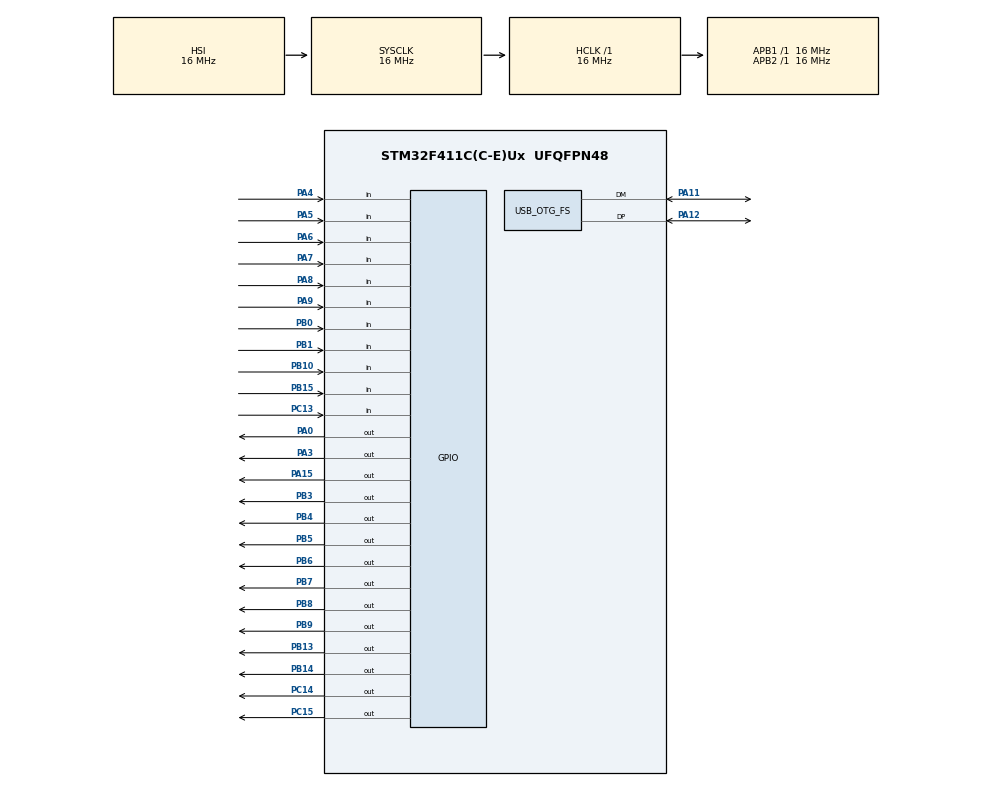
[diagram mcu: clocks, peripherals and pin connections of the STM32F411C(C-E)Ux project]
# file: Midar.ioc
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Mcu.Family=STM32F4
Mcu.Name=STM32F411C(C-E)Ux
Mcu.Package=UFQFPN48
NVIC.OTG_FS_IRQn=true\:0\:0\:false\:false\:true\:false\:true\:true
NVIC.PriorityGroup=NVIC_PRIORITYGROUP_4
PA0-WKUP.PinState=GPIO_PIN_SET
PA0-WKUP.Signal=GPIO_Output
PA11.Mode=Device_Only
PA11.Signal=USB_OTG_FS_DM
PA12.Mode=Device_Only
PA12.Signal=USB_OTG_FS_DP
PA15.PinState=GPIO_PIN_SET
PA15.Signal=GPIO_Output
PA3.PinState=GPIO_PIN_SET
PA3.Signal=GPIO_Output
PA4.GPIO_PuPd=GPIO_PULLUP
PA4.Signal=GPIO_Input
PA5.GPIO_PuPd=GPIO_PULLUP
PA5.Signal=GPIO_Input
PA6.GPIO_PuPd=GPIO_PULLUP
PA6.Signal=GPIO_Input
PA7.GPIO_PuPd=GPIO_PULLUP
PA7.Signal=GPIO_Input
PA8.GPIO_PuPd=GPIO_PULLUP
PA8.Signal=GPIO_Input
PA9.GPIO_PuPd=GPIO_PULLUP
PA9.Signal=GPIO_Input
PB0.GPIO_PuPd=GPIO_PULLUP
PB0.Signal=GPIO_Input
PB1.GPIO_PuPd=GPIO_PULLUP
PB1.Signal=GPIO_Input
PB10.GPIO_PuPd=GPIO_PULLUP
PB10.Signal=GPIO_Input
PB13.PinState=GPIO_PIN_SET
PB13.Signal=GPIO_Output
PB14.PinState=GPIO_PIN_SET
PB14.Signal=GPIO_Output
PB15.GPIO_PuPd=GPIO_PULLUP
PB15.Signal=GPIO_Input
PB3.PinState=GPIO_PIN_SET
PB3.Signal=GPIO_Output
PB4.PinState=GPIO_PIN_SET
PB4.Signal=GPIO_Output
PB5.PinState=GPIO_PIN_SET
PB5.Signal=GPIO_Output
PB6.PinState=GPIO_PIN_SET
PB6.Signal=GPIO_Output
PB7.PinState=GPIO_PIN_SET
PB7.Signal=GPIO_Output
PB8.PinState=GPIO_PIN_SET
PB8.Signal=GPIO_Output
PB9.PinState=GPIO_PIN_SET
PB9.Signal=GPIO_Output
PC13-ANTI_TAMP.GPIO_PuPd=GPIO_PULLUP
PC13-ANTI_TAMP.Signal=GPIO_Input
PC14-OSC32_IN.GPIO_PuPd=GPIO_NOPULL
PC14-OSC32_IN.PinState=GPIO_PIN_SET
PC14-OSC32_IN.Signal=GPIO_Output
PC15-OSC32_OUT.GPIO_PuPd=GPIO_NOPULL
PC15-OSC32_OUT.PinState=GPIO_PIN_SET
PC15-OSC32_OUT.Signal=GPIO_Output
PH0\ -\ OSC_IN.Mode=HSE-External-Oscillator
PH0\ -\ OSC_IN.Signal=RCC_OSC_IN
PH1\ -\ OSC_OUT.Mode=HSE-External-Oscillator
PH1\ -\ OSC_OUT.Signal=RCC_OSC_OUT
ProjectManager.HeapSize=0x200
ProjectManager.StackSize=0x400
ProjectManager.TargetToolchain=STM32CubeIDE
RCC.48MHZClocksFreq_Value=48000000
RCC.AHBFreq_Value=16000000
RCC.APB1Freq_Value=16000000
RCC.APB2Freq_Value=16000000
RCC.CortexFreq_Value=16000000
RCC.HSE_VALUE=25000000
RCC.HSI_VALUE=16000000
RCC.LSE_VALUE=32768
RCC.PLLM=15
RCC.PLLN=144
RCC.PLLQ=5
RCC.SYSCLKFreq_VALUE=16000000
RCC.VCOOutputFreq_Value=240000000
TIM11.Period=65535
TIM11.Prescaler=1600
USB_DEVICE.CLASS_NAME_FS=HID
USB_DEVICE.MANUFACTURER_STRING=Loony
USB_DEVICE.PID_HID_FS=13160
USB_DEVICE.PRODUCT_STRING_HID_FS=Midar
USB_DEVICE.VirtualMode=Hid
USB_DEVICE.VirtualModeFS=Hid_FS
USB_OTG_FS.VirtualMode=Device_Only
VP_TIM11_VS_ClockSourceINT.Mode=Enable_Timer
VP_USB_DEVICE_VS_USB_DEVICE_HID_FS.Mode=HID_FS
board=custom

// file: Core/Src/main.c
/* USER CODE BEGIN Header */
/**
  ******************************************************************************
  * @file           : main.c
  * @brief          : Main program body
  ******************************************************************************
  * @attention
  *
  * Copyright (c) 2023 STMicroelectronics.
  * All rights reserved.
  *
  * This software is licensed under terms that can be found in the LICENSE file
  * in the root directory of this software component.
  * If no LICENSE file comes with this software, it is provided AS-IS.
  *
  ******************************************************************************
  */
/* USER CODE END Header */
#include "main.h"
#include "usb_device.h"

/* USER CODE BEGIN Includes */
#include <stdbool.h>

#include "io_matrix.h"
#include "midi_device.h"
/* USER CODE END Includes */

/* USER CODE BEGIN PTD */

typedef struct
{
	bool tgl[2];
} Key_State;

typedef struct
{
	bool pressed;
	bool pendingRelease;
	uint32_t firstTouchTick; // 10kHz ticks
	uint8_t velocity;
} Note_State;

/* USER CODE END PTD */

/* USER CODE BEGIN PD */

#define DEFAULT_ROOT_NOTE 36

// Intervals measured in 10 kHz ticks
#define MIN_VELOCITY_INTERVAL 30
#define MAX_VELOCITY_INTERVAL 1200
#define VELOCITY_INTERVAL_RANGE (MAX_VELOCITY_INTERVAL-MIN_VELOCITY_INTERVAL)

/* USER CODE END PD */

TIM_HandleTypeDef htim11;

/* USER CODE BEGIN PV */

Key_State group[INPUT_PIN_COUNT];
Note_State keys[KEY_COUNT];

uint16_t rootNote = DEFAULT_ROOT_NOTE;

uint8_t pressedNotesCount = 0;
bool sustainFlag;

bool octaveUpState, octaveDownState;

/* USER CODE END PV */

void SystemClock_Config(void);
static void MX_GPIO_Init(void);
static void MX_TIM11_Init(void);

/* USER CODE BEGIN 0 */

void resetKey(uint8_t k)
{
	keys[k].pressed = false;
	keys[k].firstTouchTick = 0;
}

void releaseKey(uint8_t k)
{
	uint16_t note = rootNote + k;
	if (note >= 120)
		note -= 120;

	MIDI_addEventToBuffer(MIDI_MESSAGE_NOTE_OFF, note, 0);
	keys[k].pendingRelease = false;
	keys[k].firstTouchTick = 0;
}

void releaseAllNotes()
{
	for (uint8_t k = 0; k < KEY_COUNT; ++k)
	{
		if (keys[k].pendingRelease)
		{
			releaseKey(k);
		}
	}
}

void pressKey(uint8_t k)
{
	if (sustainFlag && pressedNotesCount == 0)
		releaseAllNotes();

	if(! keys[k].pendingRelease)
	{
		uint16_t note = rootNote + k;
		if (note >= 120)
			note -= 120;

		MIDI_addEventToBuffer(MIDI_MESSAGE_NOTE_ON, note, keys[k].velocity);
		keys[k].pressed = true;
		keys[k].pendingRelease = true;
	}
	++pressedNotesCount;
}

void transpose(bool up)
{
	int8_t offset;
	if (up)
		offset = +12;
	else
		offset = -12;

	for (uint8_t k = 0; k < KEY_COUNT; ++k)
	{
		if (keys[k].pendingRelease)
		{
			releaseKey(k);

			int16_t note = rootNote + k + offset;
			if (note < 0)
				note += 120;
			else if (note >= 120)
				note -= 120;

			MIDI_addEventToBuffer(MIDI_MESSAGE_NOTE_ON, note, keys[k].velocity);
			keys[k].pendingRelease = true;
		}
	}

	if (up && rootNote == 120)
		rootNote = 0;
	else if (! up && rootNote == 0)
		rootNote = 108;
	else
		rootNote += offset;
}

/* USER CODE END 0 */

int main(void)
{

  /* MCU Configuration--------------------------------------------------------*/

  /* Reset of all peripherals, Initializes the Flash interface and the Systick. */
  HAL_Init();

  /* Configure the system clock */
  SystemClock_Config();

  /* Initialize all configured peripherals */
  MX_GPIO_Init();
  MX_USB_DEVICE_Init();
  MX_TIM11_Init();
  /* USER CODE BEGIN 2 */

  uint8_t firstKey, key;
  uint32_t velocityInterval, velocityTimerTick, velocityOffset;

  sustainFlag = ! HAL_GPIO_ReadPin(sustainToggle.port, sustainToggle.pin);
  bool newSustainFlag, newOctaveUpState, newOctaveDownState;
  bool panicMessageSent;

//  for (uint8_t i = 0; i < INPUT_PIN_COUNT; ++i)
//  {
//	  group[i].tgl[0] = false;
//	  group[i].tgl[1] = false;
//  }
//
//for (uint8_t k = 0; k < KEY_COUNT; ++k)
//{
//	keys[k].pressed = false;
//	keys[k].firstTouchTick = 0;
//}

	HAL_TIM_Base_Start(&htim11);

  /* USER CODE END 2 */

  /* Infinite loop */
  /* USER CODE BEGIN WHILE */

  while (1)
  {
	  newSustainFlag = ! HAL_GPIO_ReadPin(sustainToggle.port, sustainToggle.pin);

	  if (sustainFlag && ! newSustainFlag)
	  {
		  releaseAllNotes();
	  }

	  sustainFlag = newSustainFlag;

	  newOctaveUpState = ! HAL_GPIO_ReadPin(octaveUpButton.port, octaveUpButton.pin);
	  newOctaveDownState = ! HAL_GPIO_ReadPin(octaveDownButton.port, octaveDownButton.pin);

	  if (! panicMessageSent)
	  {
		  if ((octaveUpState || octaveDownState) && (newOctaveUpState && newOctaveDownState))
		  {
			  // MIDI Panic
			  releaseAllNotes();
			  MIDI_addEventToBuffer(MIDI_MESSAGE_CONTROL_CHANGE, MIDI_MESSAGE_CONTROL_ALL_NOTES_OFF, 0);
			  MIDI_flush();
			  panicMessageSent = true;
		  }
		  else
		  {
			  if (octaveUpState && ! newOctaveUpState)
			  {
				  transpose(true);
			  }
			  else if (octaveDownState && ! newOctaveDownState)
			  {
				  transpose(false);
			  }
		  }
	  }
	  else if (! newOctaveUpState && ! newOctaveDownState)
	  {
		  panicMessageSent = false;
	  }

	  octaveUpState = newOctaveUpState;
	  octaveDownState = newOctaveDownState;

	  uint8_t keyCountForGroup = INPUT_PIN_COUNT;

	  for (uint8_t o = 0; o < OUTPUT_PIN_COUNT; o += 2)
	  {
		  if (o >= 12) // special condition for last 2 groups
		  {
			  keyCountForGroup = 1;
		  }

		  for (uint8_t t = 0; t < 2; ++t)
		  {
			  uint8_t outPin = o + t;

			  HAL_GPIO_WritePin(outputPins[outPin].port, outputPins[outPin].pin, GPIO_PIN_RESET);

			  for (uint8_t i = 0; i < keyCountForGroup; ++i)
			  {
				  group[i].tgl[t] = ! HAL_GPIO_ReadPin(inputPins[i].port, inputPins[i].pin);
			  }

			  HAL_GPIO_WritePin(outputPins[outPin].port, outputPins[outPin].pin, GPIO_PIN_SET);
		  }

		  firstKey = INPUT_PIN_COUNT * (o / 2);

		  for (uint8_t k = 0; k < keyCountForGroup; ++k)
		  {
			  key = firstKey + k;

			  if (! keys[key].pressed)
			  {
				  if ((keys[key].firstTouchTick == 0) && (group[k].tgl[0] || group[k].tgl[1]))
				  {
					  keys[key].firstTouchTick = __HAL_TIM_GET_COUNTER(&htim11);
				  }

				  if (keys[key].firstTouchTick > 0)
				  {
					  velocityTimerTick = __HAL_TIM_GET_COUNTER(&htim11);

					  if (keys[key].firstTouchTick <= velocityTimerTick)
					  {
						  velocityInterval = velocityTimerTick - keys[key].firstTouchTick;
					  }
					  else
					  {
						  // Dealing with timer period overflow
						  velocityInterval = velocityTimerTick + (htim11.Init.Period - keys[key].firstTouchTick);
					  }

					  if (velocityInterval > MAX_VELOCITY_INTERVAL)
					  {
						  keys[key].velocity = 25;
						  if (group[k].tgl[0] || group[k].tgl[1])
						  {
							  pressKey(key);
						  }
						  else
						  {
							  resetKey(key);
						  }
					  }
					  else if (group[k].tgl[0] && group[k].tgl[1])
					  {
						  if (velocityInterval < MIN_VELOCITY_INTERVAL)
						  {
							  keys[key].velocity = 0xFF;
						  }
						  else
						  {
							  velocityOffset = (float)(velocityInterval - MIN_VELOCITY_INTERVAL);
							  keys[key].velocity = 0xFF - (uint8_t)(100.f * velocityOffset / (float)VELOCITY_INTERVAL_RANGE);
						  }

						  pressKey(key);
					  }

				  }
			  }
			  else if (! group[k].tgl[0] && ! group[k].tgl[1])
			  {
				  if (! sustainFlag && keys[key].pendingRelease)
				  {
					  releaseKey(key);
				  }

				  resetKey(key);
				  --pressedNotesCount;
			  }
		  }

//		  HAL_Delay(1);
	  }
	  MIDI_flush();

  }
    /* USER CODE END WHILE */

}

void SystemClock_Config(void)
{
  RCC_OscInitTypeDef RCC_OscInitStruct = {0};
  RCC_ClkInitTypeDef RCC_ClkInitStruct = {0};

  /** Configure the main internal regulator output voltage
  */
  __HAL_RCC_PWR_CLK_ENABLE();
  __HAL_PWR_VOLTAGESCALING_CONFIG(PWR_REGULATOR_VOLTAGE_SCALE1);

  /** Initializes the RCC Oscillators according to the specified parameters
  * in the RCC_OscInitTypeDef structure.
  */
  RCC_OscInitStruct.OscillatorType = RCC_OSCILLATORTYPE_HSI|RCC_OSCILLATORTYPE_HSE;
  RCC_OscInitStruct.HSEState = RCC_HSE_ON;
  RCC_OscInitStruct.HSIState = RCC_HSI_ON;
  RCC_OscInitStruct.HSICalibrationValue = RCC_HSICALIBRATION_DEFAULT;
  RCC_OscInitStruct.PLL.PLLState = RCC_PLL_ON;
  RCC_OscInitStruct.PLL.PLLSource = RCC_PLLSOURCE_HSE;
  RCC_OscInitStruct.PLL.PLLM = 15;
  RCC_OscInitStruct.PLL.PLLN = 144;
  RCC_OscInitStruct.PLL.PLLP = RCC_PLLP_DIV2;
  RCC_OscInitStruct.PLL.PLLQ = 5;
  if (HAL_RCC_OscConfig(&RCC_OscInitStruct) != HAL_OK)
  {
    Error_Handler();
  }

  /** Initializes the CPU, AHB and APB buses clocks
  */
  RCC_ClkInitStruct.ClockType = RCC_CLOCKTYPE_HCLK|RCC_CLOCKTYPE_SYSCLK
                              |RCC_CLOCKTYPE_PCLK1|RCC_CLOCKTYPE_PCLK2;
  RCC_ClkInitStruct.SYSCLKSource = RCC_SYSCLKSOURCE_HSI;
  RCC_ClkInitStruct.AHBCLKDivider = RCC_SYSCLK_DIV1;
  RCC_ClkInitStruct.APB1CLKDivider = RCC_HCLK_DIV1;
  RCC_ClkInitStruct.APB2CLKDivider = RCC_HCLK_DIV1;

  if (HAL_RCC_ClockConfig(&RCC_ClkInitStruct, FLASH_LATENCY_0) != HAL_OK)
  {
    Error_Handler();
  }
}

static void MX_TIM11_Init(void)
{

  htim11.Instance = TIM11;
  htim11.Init.Prescaler = 1600;
  htim11.Init.CounterMode = TIM_COUNTERMODE_UP;
  htim11.Init.Period = 65535;
  htim11.Init.ClockDivision = TIM_CLOCKDIVISION_DIV1;
  htim11.Init.AutoReloadPreload = TIM_AUTORELOAD_PRELOAD_DISABLE;
  if (HAL_TIM_Base_Init(&htim11) != HAL_OK)
  {
    Error_Handler();
  }

}

static void MX_GPIO_Init(void)
{
  GPIO_InitTypeDef GPIO_InitStruct = {0};

  /* GPIO Ports Clock Enable */
  __HAL_RCC_GPIOC_CLK_ENABLE();
  __HAL_RCC_GPIOH_CLK_ENABLE();
  __HAL_RCC_GPIOA_CLK_ENABLE();
  __HAL_RCC_GPIOB_CLK_ENABLE();

  /*Configure GPIO pin Output Level */
  HAL_GPIO_WritePin(GPIOC, GPIO_PIN_14|GPIO_PIN_15, GPIO_PIN_SET);

  /*Configure GPIO pin Output Level */
  HAL_GPIO_WritePin(GPIOA, GPIO_PIN_0|GPIO_PIN_3|GPIO_PIN_15, GPIO_PIN_SET);

  /*Configure GPIO pin Output Level */
  HAL_GPIO_WritePin(GPIOB, GPIO_PIN_13|GPIO_PIN_14|GPIO_PIN_3|GPIO_PIN_4
                          |GPIO_PIN_5|GPIO_PIN_6|GPIO_PIN_7|GPIO_PIN_8
                          |GPIO_PIN_9, GPIO_PIN_SET);

  /*Configure GPIO pin : PC13 */
  GPIO_InitStruct.Pin = GPIO_PIN_13;
  GPIO_InitStruct.Mode = GPIO_MODE_INPUT;
  GPIO_InitStruct.Pull = GPIO_PULLUP;
  HAL_GPIO_Init(GPIOC, &GPIO_InitStruct);

  /*Configure GPIO pins : PC14 PC15 */
  GPIO_InitStruct.Pin = GPIO_PIN_14|GPIO_PIN_15;
  GPIO_InitStruct.Mode = GPIO_MODE_OUTPUT_PP;
  GPIO_InitStruct.Pull = GPIO_NOPULL;
  GPIO_InitStruct.Speed = GPIO_SPEED_FREQ_LOW;
  HAL_GPIO_Init(GPIOC, &GPIO_InitStruct);

  /*Configure GPIO pins : PA0 PA3 PA15 */
  GPIO_InitStruct.Pin = GPIO_PIN_0|GPIO_PIN_3|GPIO_PIN_15;
  GPIO_InitStruct.Mode = GPIO_MODE_OUTPUT_PP;
  GPIO_InitStruct.Pull = GPIO_NOPULL;
  GPIO_InitStruct.Speed = GPIO_SPEED_FREQ_LOW;
  HAL_GPIO_Init(GPIOA, &GPIO_InitStruct);

  /*Configure GPIO pins : PA4 PA5 PA6 PA7
                           PA8 PA9 */
  GPIO_InitStruct.Pin = GPIO_PIN_4|GPIO_PIN_5|GPIO_PIN_6|GPIO_PIN_7
                          |GPIO_PIN_8|GPIO_PIN_9;
  GPIO_InitStruct.Mode = GPIO_MODE_INPUT;
  GPIO_InitStruct.Pull = GPIO_PULLUP;
  HAL_GPIO_Init(GPIOA, &GPIO_InitStruct);

  /*Configure GPIO pins : PB0 PB1 PB10 PB15 */
  GPIO_InitStruct.Pin = GPIO_PIN_0|GPIO_PIN_1|GPIO_PIN_10|GPIO_PIN_15;
  GPIO_InitStruct.Mode = GPIO_MODE_INPUT;
  GPIO_InitStruct.Pull = GPIO_PULLUP;
  HAL_GPIO_Init(GPIOB, &GPIO_InitStruct);

  /*Configure GPIO pins : PB13 PB14 PB3 PB4
                           PB5 PB6 PB7 PB8
                           PB9 */
  GPIO_InitStruct.Pin = GPIO_PIN_13|GPIO_PIN_14|GPIO_PIN_3|GPIO_PIN_4
                          |GPIO_PIN_5|GPIO_PIN_6|GPIO_PIN_7|GPIO_PIN_8
                          |GPIO_PIN_9;
  GPIO_InitStruct.Mode = GPIO_MODE_OUTPUT_PP;
  GPIO_InitStruct.Pull = GPIO_NOPULL;
  GPIO_InitStruct.Speed = GPIO_SPEED_FREQ_LOW;
  HAL_GPIO_Init(GPIOB, &GPIO_InitStruct);

}

void Error_Handler(void)
{
  __disable_irq();
  while (1)
  {
  }
}
